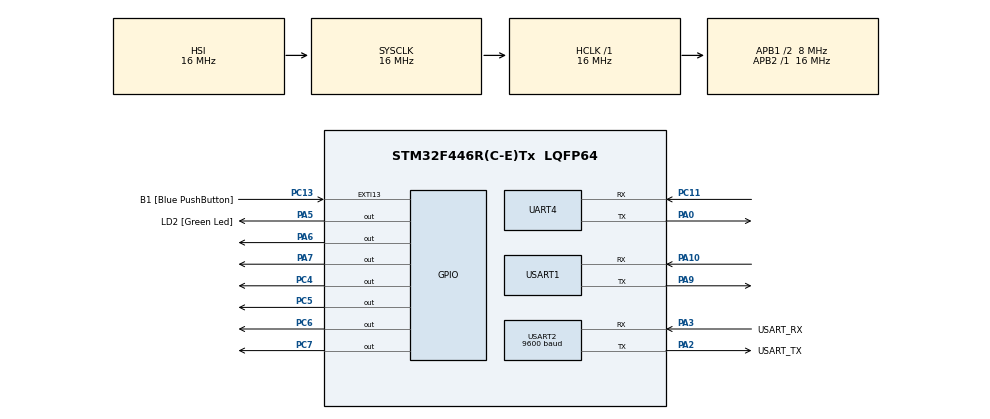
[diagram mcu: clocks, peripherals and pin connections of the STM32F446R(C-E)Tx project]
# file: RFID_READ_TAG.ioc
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Mcu.Family=STM32F4
Mcu.Name=STM32F446R(C-E)Tx
Mcu.Package=LQFP64
NVIC.PriorityGroup=NVIC_PRIORITYGROUP_0
NVIC.UART4_IRQn=true\:0\:0\:false\:false\:true\:true\:true\:true
NVIC.USART1_IRQn=true\:0\:0\:false\:false\:true\:true\:true\:true
NVIC.USART2_IRQn=true\:0\:0\:false\:false\:true\:true\:true\:true
PA0-WKUP.Mode=Asynchronous
PA0-WKUP.Signal=UART4_TX
PA10.Mode=Asynchronous
PA10.Signal=USART1_RX
PA13.GPIO_Label=TMS
PA13.Mode=Serial_Wire
PA13.Signal=SYS_JTMS-SWDIO
PA14.GPIO_Label=TCK
PA14.Mode=Serial_Wire
PA14.Signal=SYS_JTCK-SWCLK
PA2.GPIO_Label=USART_TX
PA2.Mode=Asynchronous
PA2.Signal=USART2_TX
PA3.GPIO_Label=USART_RX
PA3.Mode=Asynchronous
PA3.Signal=USART2_RX
PA5.GPIO_Label=LD2 [Green Led]
PA5.Signal=GPIO_Output
PA6.Signal=GPIO_Output
PA7.Signal=GPIO_Output
PA9.Mode=Asynchronous
PA9.Signal=USART1_TX
PB3.GPIO_Label=SWO
PB3.Signal=SYS_JTDO-SWO
PC11.Mode=Asynchronous
PC11.Signal=UART4_RX
PC13.GPIO_Label=B1 [Blue PushButton]
PC13.GPIO_ModeDefaultEXTI=GPIO_MODE_IT_FALLING
PC13.Signal=GPXTI13
PC14-OSC32_IN.Mode=LSE-External-Oscillator
PC14-OSC32_IN.Signal=RCC_OSC32_IN
PC15-OSC32_OUT.Mode=LSE-External-Oscillator
PC15-OSC32_OUT.Signal=RCC_OSC32_OUT
PC4.Signal=GPIO_Output
PC5.Signal=GPIO_Output
PC6.Signal=GPIO_Output
PC7.Signal=GPIO_Output
PH0-OSC_IN.Mode=HSE-External-Oscillator
PH0-OSC_IN.Signal=RCC_OSC_IN
PH1-OSC_OUT.Mode=HSE-External-Oscillator
PH1-OSC_OUT.Signal=RCC_OSC_OUT
ProjectManager.HeapSize=0x200
ProjectManager.StackSize=0x400
ProjectManager.TargetToolchain=STM32CubeIDE
RCC.48MHZClocksFreq_Value=84000000
RCC.AHBFreq_Value=16000000
RCC.APB1CLKDivider=RCC_HCLK_DIV2
RCC.APB1Freq_Value=8000000
RCC.APB1TimFreq_Value=16000000
RCC.APB2Freq_Value=16000000
RCC.APB2TimFreq_Value=16000000
RCC.CortexFreq_Value=16000000
RCC.FLatency-AdvancedSettings=FLASH_LATENCY_0
RCC.HCLKFreq_Value=16000000
RCC.HSE_VALUE=8000000
RCC.HSI_VALUE=16000000
RCC.PLLN=336
RCC.PLLP=RCC_PLLP_DIV4
RCC.SYSCLKFreq_VALUE=16000000
RCC.USBFreq_Value=168000000
RCC.VCOOutputFreq_Value=336000000
UART4.VirtualMode=Asynchronous
USART1.VirtualMode=VM_ASYNC
USART2.BaudRate=9600
USART2.VirtualMode=VM_ASYNC
board=NUCLEO-F446RE

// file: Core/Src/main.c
/* USER CODE BEGIN Header */
/**
  ******************************************************************************
  * @file           : main.c
  * @brief          : Main program body
  ******************************************************************************
  * @attention
  *
  * Copyright (c) 2023 STMicroelectronics.
  * All rights reserved.
  *
  * This software is licensed under terms that can be found in the LICENSE file
  * in the root directory of this software component.
  * If no LICENSE file comes with this software, it is provided AS-IS.
  *
  ******************************************************************************
  */
/* USER CODE END Header */
#include "main.h"

/* USER CODE BEGIN Includes */
#include "lcd.h"
#include<string.h>
/* USER CODE END Includes */

UART_HandleTypeDef huart4;
UART_HandleTypeDef huart1;
UART_HandleTypeDef huart2;

void SystemClock_Config(void);
static void MX_GPIO_Init(void);
static void MX_USART2_UART_Init(void);
static void MX_UART4_Init(void);
static void MX_USART1_UART_Init(void);

/* USER CODE BEGIN 0 */
uint8_t recv_dat;
 uint8_t dat_buf[15];
 uint8_t card1[3]="55";
 uint8_t card2[3]="18";
 uint8_t card3[3]="3E";
 uint8_t count=0;

/* USER CODE END 0 */

int main(void)
{

  /* MCU Configuration--------------------------------------------------------*/

  /* Reset of all peripherals, Initializes the Flash interface and the Systick. */
  HAL_Init();

  /* USER CODE BEGIN Init */
LCD_init();
  /* USER CODE END Init */

  /* Configure the system clock */
  SystemClock_Config();

  /* Initialize all configured peripherals */
  MX_GPIO_Init();
  MX_USART2_UART_Init();
  MX_UART4_Init();
  MX_USART1_UART_Init();
  /* USER CODE BEGIN 2 */
  //  uint16_t len_of_data = strlen(dat);
  // HAL_UART_Transmit(&huart1, (uint8_t *)dat, len_of_data, HAL_MAX_DELAY);
  LCD_command(0x01);
    delay(10);
    LCD_string("WELCOME");
    LCD_command(0xc2);
    delay(10);
    LCD_string("RFID TESTING");
    delay(100);
    LCD_command(0x01);
    delay(10);
    LCD_string("SHOW CARD");
    delay(100);

  /* USER CODE END 2 */

  /* Infinite loop */
  while (1)
  {

    /* USER CODE BEGIN 3 */
	  memset(dat_buf,0,200);
	  	  	  HAL_UART_Receive_IT(&huart4, &recv_dat,1);

  }
  /* USER CODE END 3 */
}
void HAL_UART_RxCpltCallback(UART_HandleTypeDef *huart)
{
dat_buf[count++]=recv_dat;
//if(!(strcmp(dat_buf, card1)))
if(dat_buf[0]=='5' && dat_buf[1]=='5')
{
	HAL_UART_Transmit(&huart1, (uint8_t *)"AT\r\n", 4, 100);
			  HAL_Delay(1000);

			  HAL_UART_Transmit(&huart1, (uint8_t *)"AT+CMGF=1\r\n", 11, 100);
			  HAL_Delay(1000);

			  HAL_UART_Transmit(&huart1, (uint8_t *)"AT+CMGS=\"9640745365\"\r\n", 23, 100);
			  HAL_Delay(1000);

			  HAL_UART_Transmit(&huart1, (uint8_t *)"RUPA", 5, 100);
			  HAL_Delay(100);
LCD_command(0xc0);
// delay(10);
LCD_string("Rupa");
delay(100);

}
else if (dat_buf[0]=='1' && dat_buf[1]=='8')
{
	  LCD_command(0xc0);
	  // delay(10);
	    LCD_string("Jeevan");
	    delay(100);
}
// else if (dat_buf[0]=='3' && dat_buf[1]=='E')
 // {
	 // LCD_command(0xc0);
	  // delay(10);
	   // LCD_string("Anusha");
	    //delay(100);
  //}
else
{
	  LCD_command(0xc0);
	    	  // delay(10);
	    	    LCD_string("INVALID CARD");
	    	    delay(100);
}
}

void SystemClock_Config(void)
{
  RCC_OscInitTypeDef RCC_OscInitStruct = {0};
  RCC_ClkInitTypeDef RCC_ClkInitStruct = {0};

  /** Configure the main internal regulator output voltage
  */
  __HAL_RCC_PWR_CLK_ENABLE();
  __HAL_PWR_VOLTAGESCALING_CONFIG(PWR_REGULATOR_VOLTAGE_SCALE3);

  /** Initializes the RCC Oscillators according to the specified parameters
  * in the RCC_OscInitTypeDef structure.
  */
  RCC_OscInitStruct.OscillatorType = RCC_OSCILLATORTYPE_HSI;
  RCC_OscInitStruct.HSIState = RCC_HSI_ON;
  RCC_OscInitStruct.HSICalibrationValue = RCC_HSICALIBRATION_DEFAULT;
  RCC_OscInitStruct.PLL.PLLState = RCC_PLL_NONE;
  if (HAL_RCC_OscConfig(&RCC_OscInitStruct) != HAL_OK)
  {
    Error_Handler();
  }

  /** Initializes the CPU, AHB and APB buses clocks
  */
  RCC_ClkInitStruct.ClockType = RCC_CLOCKTYPE_HCLK|RCC_CLOCKTYPE_SYSCLK
                              |RCC_CLOCKTYPE_PCLK1|RCC_CLOCKTYPE_PCLK2;
  RCC_ClkInitStruct.SYSCLKSource = RCC_SYSCLKSOURCE_HSI;
  RCC_ClkInitStruct.AHBCLKDivider = RCC_SYSCLK_DIV1;
  RCC_ClkInitStruct.APB1CLKDivider = RCC_HCLK_DIV2;
  RCC_ClkInitStruct.APB2CLKDivider = RCC_HCLK_DIV1;

  if (HAL_RCC_ClockConfig(&RCC_ClkInitStruct, FLASH_LATENCY_0) != HAL_OK)
  {
    Error_Handler();
  }
}

static void MX_UART4_Init(void)
{

  huart4.Instance = UART4;
  huart4.Init.BaudRate = 115200;
  huart4.Init.WordLength = UART_WORDLENGTH_8B;
  huart4.Init.StopBits = UART_STOPBITS_1;
  huart4.Init.Parity = UART_PARITY_NONE;
  huart4.Init.Mode = UART_MODE_TX_RX;
  huart4.Init.HwFlowCtl = UART_HWCONTROL_NONE;
  huart4.Init.OverSampling = UART_OVERSAMPLING_16;
  if (HAL_UART_Init(&huart4) != HAL_OK)
  {
    Error_Handler();
  }

}

static void MX_USART1_UART_Init(void)
{

  huart1.Instance = USART1;
  huart1.Init.BaudRate = 115200;
  huart1.Init.WordLength = UART_WORDLENGTH_8B;
  huart1.Init.StopBits = UART_STOPBITS_1;
  huart1.Init.Parity = UART_PARITY_NONE;
  huart1.Init.Mode = UART_MODE_TX_RX;
  huart1.Init.HwFlowCtl = UART_HWCONTROL_NONE;
  huart1.Init.OverSampling = UART_OVERSAMPLING_16;
  if (HAL_UART_Init(&huart1) != HAL_OK)
  {
    Error_Handler();
  }

}

static void MX_USART2_UART_Init(void)
{

  huart2.Instance = USART2;
  huart2.Init.BaudRate = 9600;
  huart2.Init.WordLength = UART_WORDLENGTH_8B;
  huart2.Init.StopBits = UART_STOPBITS_1;
  huart2.Init.Parity = UART_PARITY_NONE;
  huart2.Init.Mode = UART_MODE_TX_RX;
  huart2.Init.HwFlowCtl = UART_HWCONTROL_NONE;
  huart2.Init.OverSampling = UART_OVERSAMPLING_16;
  if (HAL_UART_Init(&huart2) != HAL_OK)
  {
    Error_Handler();
  }

}

static void MX_GPIO_Init(void)
{
  GPIO_InitTypeDef GPIO_InitStruct = {0};

  /* GPIO Ports Clock Enable */
  __HAL_RCC_GPIOC_CLK_ENABLE();
  __HAL_RCC_GPIOH_CLK_ENABLE();
  __HAL_RCC_GPIOA_CLK_ENABLE();
  __HAL_RCC_GPIOB_CLK_ENABLE();

  /*Configure GPIO pin Output Level */
  HAL_GPIO_WritePin(GPIOA, LD2_Pin|GPIO_PIN_6|GPIO_PIN_7, GPIO_PIN_RESET);

  /*Configure GPIO pin Output Level */
  HAL_GPIO_WritePin(GPIOC, GPIO_PIN_4|GPIO_PIN_5|GPIO_PIN_6|GPIO_PIN_7, GPIO_PIN_RESET);

  /*Configure GPIO pin : B1_Pin */
  GPIO_InitStruct.Pin = B1_Pin;
  GPIO_InitStruct.Mode = GPIO_MODE_IT_FALLING;
  GPIO_InitStruct.Pull = GPIO_NOPULL;
  HAL_GPIO_Init(B1_GPIO_Port, &GPIO_InitStruct);

  /*Configure GPIO pins : LD2_Pin PA6 PA7 */
  GPIO_InitStruct.Pin = LD2_Pin|GPIO_PIN_6|GPIO_PIN_7;
  GPIO_InitStruct.Mode = GPIO_MODE_OUTPUT_PP;
  GPIO_InitStruct.Pull = GPIO_NOPULL;
  GPIO_InitStruct.Speed = GPIO_SPEED_FREQ_LOW;
  HAL_GPIO_Init(GPIOA, &GPIO_InitStruct);

  /*Configure GPIO pins : PC4 PC5 PC6 PC7 */
  GPIO_InitStruct.Pin = GPIO_PIN_4|GPIO_PIN_5|GPIO_PIN_6|GPIO_PIN_7;
  GPIO_InitStruct.Mode = GPIO_MODE_OUTPUT_PP;
  GPIO_InitStruct.Pull = GPIO_NOPULL;
  GPIO_InitStruct.Speed = GPIO_SPEED_FREQ_LOW;
  HAL_GPIO_Init(GPIOC, &GPIO_InitStruct);

}

void Error_Handler(void)
{
  __disable_irq();
  while (1)
  {
  }
}
